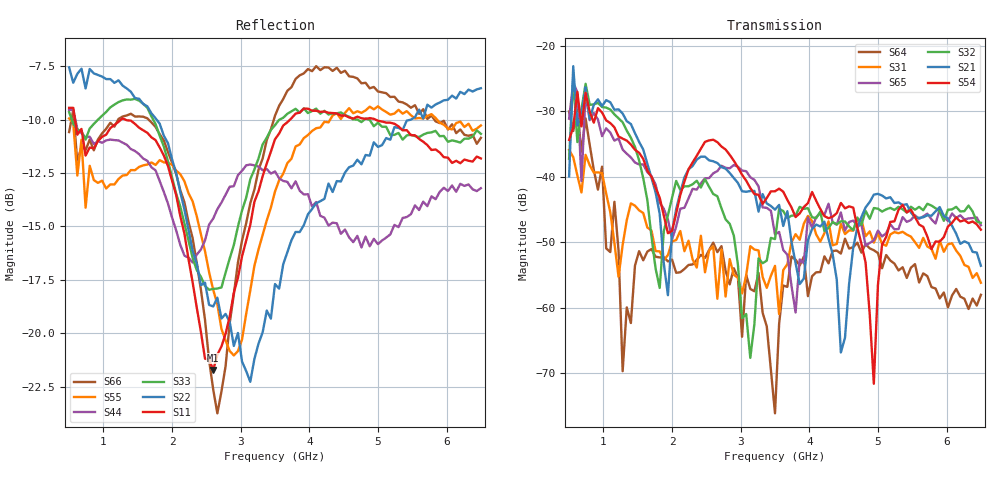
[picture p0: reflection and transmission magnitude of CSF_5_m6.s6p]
!Keysight Technologies,M9804A,MY58100912,A.14.10.03
!Date: Thursday, April 27, 2023 10:28:33
!Correction: S11(C  6-Port  )
!S12(C  6-Port  )
!S13(C  6-Port  )
!S14(C  6-Port  )
!S15(C  6-Port  )
!S16(C  6-Port  )
!S21(C  6-Port  )
!S22(C  6-Port  )
!S23(C  6-Port  )
!S24(C  6-Port  )
!S25(C  6-Port  )
!S26(C  6-Port  )
!S31(C  6-Port  )
!S32(C  6-Port  )
!S33(C  6-Port  )
!S34(C  6-Port  )
!S35(C  6-Port  )
!S36(C  6-Port  )
!S41(C  6-Port  )
!S42(C  6-Port  )
!S43(C  6-Port  )
!S44(C  6-Port  )
!S45(C  6-Port  )
!S46(C  6-Port  )
!S51(C  6-Port  )
!S52(C  6-Port  )
!S53(C  6-Port  )
!S54(C  6-Port  )
!S55(C  6-Port  )
!S56(C  6-Port  )
!S61(C  6-Port  )
!S62(C  6-Port  )
!S63(C  6-Port  )
!S64(C  6-Port  )
!S65(C  6-Port  )
!S66(C  6-Port  )
!S6P File: Measurement: :
# Hz S  RI  R 50
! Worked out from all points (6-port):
!   101 points, 500 MHz to 6.5 GHz, reference 50 ohm
!   strongest paths, dB at 500 MHz, 2 GHz, 3.5 GHz, 5 GHz, 6.5 GHz:
!     S54: -34.4, -48.3, -42.2, -56.5, -48.1
!     S21: -40.0, -48.4, -45.0, -42.6, -53.6
!     S32: -37.3, -43.2, -49.5, -44.9, -47.0
!     S65: -31.1, -49.5, -48.8, -48.2, -47.4
!     S31: -35.9, -49.9, -53.6, -48.6, -56.2
!     S64: -30.0, -52.7, -76.1, -51.7, -58.0
!   lowest |S11| = -21.7 dB at 2.6 GHz (marker M1), VSWR 1.18, Z = 42.7 + j1.97 ohm
!   |S11| at or under -10 dB: 586.5 MHz to 1.257 GHz (670.8 MHz wide, 72.8 % of centre); 1.321 GHz to 3.719 GHz (2.398 GHz wide, 95.2 % of centre); 4.966 GHz to end of sweep
